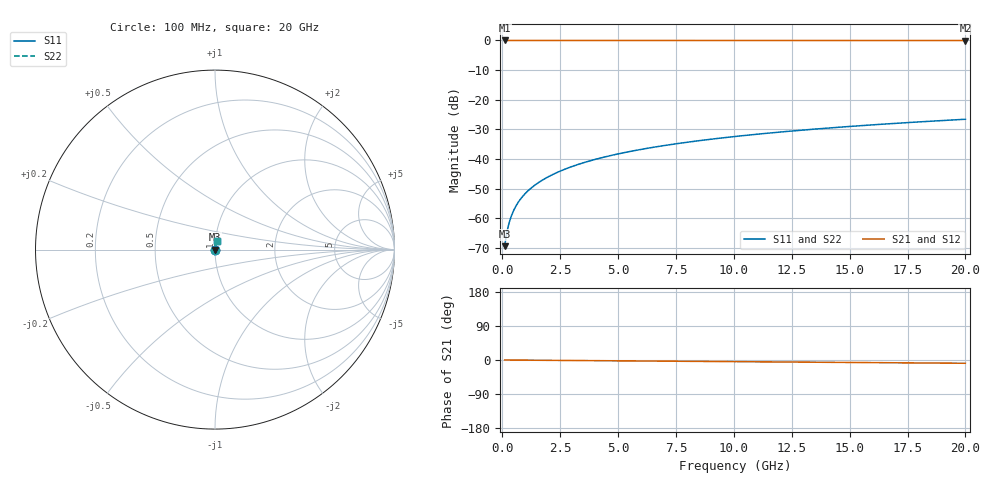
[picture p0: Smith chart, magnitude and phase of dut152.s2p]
! Touchstone file exported from HFSS 2026.1.0
!  File:  C:/ffzhzh/LocalFiles/Ansys_Project_Files/temp_train_TSV_152_1782990652_41620.aedt
!  Generated:  07:13:07 PM Jul  2, 2026
!  Design:  TSV
!  Project:  temp_train_TSV_152_1782990652_41620
! Variables:
!  h_bsmrdl = 2um
!  h_ox = 20um
!  h_rdl = 5um
!  h_sub = 80.16um
!  h_tmrdl = 5um
!  h_tsv = 80.16um
!  h_via = 3um
!  l_bsmrdl = 300um
!  l_sub = 415.18um
!  l_tmrdl = 200um
!  m_sub = 200um
!  pitch = 46.53um
!  r_tsv = 7.59um
!  s_tmrdl = 10um
!  w_bsmrdl = 18um
!  w_sub = 500um
!  w_tmrdl = 12um
!  x_tsv_center1 = 206um
!  x_tsv_center2 = 524um
!  x_tsv_center3 = 736um
!  x_tsv_center4 = 1054um
!  x_tsv_center5 = 1266um
!  x_tsv_center6 = 1584um
# GHz S MA R 50.000000
! Terminal data exported
! Port[1] = TSV1_1_T1
! Port[2] = TSV1_1_T2
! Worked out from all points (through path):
!   200 points, 100 MHz to 20 GHz, reference 50 ohm
!   highest |S21| = 0.00 dB at 100 MHz (marker M1); lowest = 0.0 dB at 20 GHz (marker M2)
!   group delay of S21, straight-line fit = 1.2 ps
!   lowest |S11| = -69.4 dB at 100 MHz (marker M3), VSWR 1.00, Z = 50 + j0.0278 ohm
!   |S11| at or under -10 dB: start of sweep to end of sweep
!   |S22| runs from -69.4 to -26.6 dB; largest |S21 - S12| = 3.4e-15
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0.1  0.0003395 55.0  0.9998 -0.0  0.9998 -0.0  0.0003395 55.0
! Gamma 0 0 0 0
! Port Impedance 50 0 50 0
0.2  0.0005911 69.7  0.9998 -0.1  0.9998 -0.1  0.0005911 69.7
0.3  0.000856 75.0  0.9998 -0.1  0.9998 -0.1  0.000856 75.0
0.4  0.001121 77.5  0.9998 -0.2  0.9998 -0.2  0.001121 77.5
0.5  0.001383 78.9  0.9997 -0.2  0.9997 -0.2  0.001383 78.9
0.6  0.001642 79.8  0.9997 -0.3  0.9997 -0.3  0.001642 79.8
0.7  0.001897 80.4  0.9997 -0.3  0.9997 -0.3  0.001897 80.4
0.8  0.002148 80.9  0.9997 -0.4  0.9997 -0.4  0.002148 80.9
1  0.002643 81.6  0.9996 -0.4  0.9996 -0.4  0.002643 81.6
1.4  0.003615 82.5  0.9996 -0.6  0.9996 -0.6  0.003615 82.5
1.7  0.004338 83.0  0.9995 -0.8  0.9995 -0.8  0.004338 83.0
2  0.00506 83.4  0.9995 -0.9  0.9995 -0.9  0.00506 83.4
2.7  0.006739 84.0  0.9994 -1.2  0.9994 -1.2  0.006739 84.0
3.5  0.008651 84.2  0.9993 -1.5  0.9993 -1.5  0.008651 84.2
4.2  0.01032 84.3  0.9992 -1.8  0.9992 -1.8  0.01032 84.3
5  0.01221 84.2  0.9992 -2.2  0.9992 -2.2  0.01221 84.2
6.8  0.01644 83.9  0.999 -3.0  0.999 -3.0  0.01644 83.9
8.3  0.01995 83.5  0.9988 -3.6  0.9988 -3.6  0.01995 83.5
10.1  0.02414 83.0  0.9986 -4.4  0.9986 -4.4  0.02414 83.0
13.4  0.03178 81.9  0.9982 -5.8  0.9982 -5.8  0.03178 81.9
16.7  0.03936 80.7  0.9978 -7.2  0.9978 -7.2  0.03936 80.7
20  0.04688 79.5  0.9974 -8.6  0.9974 -8.6  0.04688 79.5
